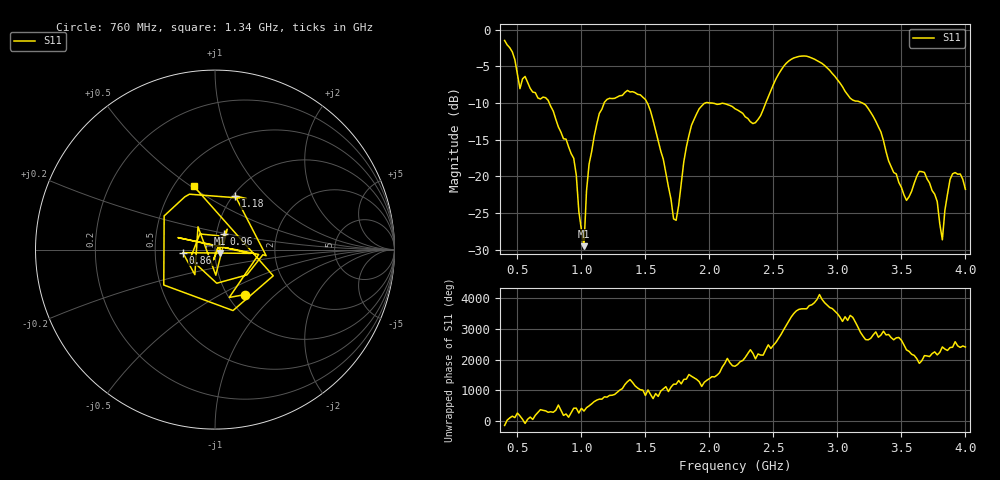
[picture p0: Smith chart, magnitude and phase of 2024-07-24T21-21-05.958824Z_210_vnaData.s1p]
!Created with skrf (http://scikit-rf.org).
# Hz S RI R 50.0
!freq ReS11 ImS11
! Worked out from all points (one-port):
!   181 points, 400 MHz to 4 GHz, reference 50 ohm
!   lowest |S11| = -29.5 dB at 1.02 GHz (marker M1), VSWR 1.07, Z = 52.8 - j1.92 ohm
!   |S11| at or under -10 dB: 1.515 GHz to 1.97 GHz (455 MHz wide, 26.1 % of centre); 1.999 GHz to 2.44 GHz (440.8 MHz wide, 19.9 % of centre); 3.194 GHz to end of sweep (the widest 3 of 4)
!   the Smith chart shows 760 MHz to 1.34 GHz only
!   S11 on the Smith chart (normalised r, x): 760 MHz: 1.20, -0.66; 860 MHz: 0.70, -0.02; 960 MHz: 1.09, +0.19; 1.18 GHz: 1.02, +0.68; 1.34 GHz: 0.63, +0.51
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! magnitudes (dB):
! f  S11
! 400 MHz  -1.5
! 520 MHz  -8.1
! 560 MHz  -6.4
! 760 MHz  -10.5
! 860 MHz  -14.9
! 960 MHz  -19.8
! 1.02 GHz  -29.5
! 1.06 GHz  -18.3
! 1.18 GHz  -9.9
! 1.3 GHz  -9.0
! 1.34 GHz  -8.6
! 1.52 GHz  -10.2
! 1.72 GHz  -25.8
! 1.76 GHz  -24.0
! 1.82 GHz  -16.0
! 1.92 GHz  -10.8
! 2.2 GHz  -10.8
! 2.36 GHz  -12.7
! 2.66 GHz  -3.9
! 2.88 GHz  -4.6
! 3.1 GHz  -9.4
! 3.28 GHz  -11.8
! 3.56 GHz  -22.8
! 3.68 GHz  -19.5
! 3.78 GHz  -23.4
! 3.82 GHz  -28.7
! 3.9 GHz  -19.7
! 4 GHz  -21.8
